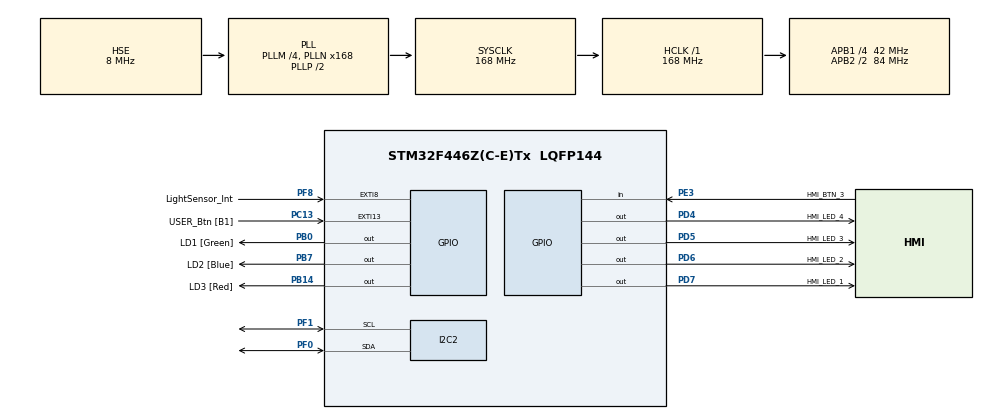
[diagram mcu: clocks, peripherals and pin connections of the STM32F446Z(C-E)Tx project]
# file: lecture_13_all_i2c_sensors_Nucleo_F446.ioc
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Mcu.Family=STM32F4
Mcu.Name=STM32F446Z(C-E)Tx
Mcu.Package=LQFP144
NVIC.EXTI15_10_IRQn=true\:0\:0\:false\:false\:true\:true\:true\:true
NVIC.EXTI9_5_IRQn=true\:0\:0\:false\:false\:true\:true\:true\:true
NVIC.PriorityGroup=NVIC_PRIORITYGROUP_4
PA13.Mode=Serial_Wire
PA13.Signal=SYS_JTMS-SWDIO
PA14.Mode=Serial_Wire
PA14.Signal=SYS_JTCK-SWCLK
PB0.GPIO_Label=LD1 [Green]
PB0.Signal=GPIO_Output
PB14.GPIO_Label=LD3 [Red]
PB14.Signal=GPIO_Output
PB7.GPIO_Label=LD2 [Blue]
PB7.Signal=GPIO_Output
PC13.GPIO_Label=USER_Btn [B1]
PC13.Signal=GPXTI13
PC14-OSC32_IN.Mode=LSE-External-Oscillator
PC14-OSC32_IN.Signal=RCC_OSC32_IN
PC15-OSC32_OUT.Mode=LSE-External-Oscillator
PC15-OSC32_OUT.Signal=RCC_OSC32_OUT
PD4.GPIO_Label=HMI_LED_4
PD4.GPIO_ModeDefaultOutputPP=GPIO_MODE_OUTPUT_PP
PD4.GPIO_PuPd=GPIO_NOPULL
PD4.GPIO_Speed=GPIO_SPEED_FREQ_LOW
PD4.PinState=GPIO_PIN_RESET
PD4.Signal=GPIO_Output
PD5.GPIO_Label=HMI_LED_3
PD5.GPIO_ModeDefaultOutputPP=GPIO_MODE_OUTPUT_PP
PD5.GPIO_PuPd=GPIO_NOPULL
PD5.GPIO_Speed=GPIO_SPEED_FREQ_LOW
PD5.PinState=GPIO_PIN_RESET
PD5.Signal=GPIO_Output
PD6.GPIO_Label=HMI_LED_2
PD6.GPIO_ModeDefaultOutputPP=GPIO_MODE_OUTPUT_PP
PD6.GPIO_PuPd=GPIO_NOPULL
PD6.GPIO_Speed=GPIO_SPEED_FREQ_LOW
PD6.PinState=GPIO_PIN_RESET
PD6.Signal=GPIO_Output
PD7.GPIO_Label=HMI_LED_1
PD7.GPIO_ModeDefaultOutputPP=GPIO_MODE_OUTPUT_PP
PD7.GPIO_PuPd=GPIO_NOPULL
PD7.GPIO_Speed=GPIO_SPEED_FREQ_LOW
PD7.PinState=GPIO_PIN_RESET
PD7.Signal=GPIO_Output
PE3.GPIO_Label=HMI_BTN_3
PE3.GPIO_PuPd=GPIO_PULLDOWN
PE3.Signal=GPIO_Input
PF0.Mode=I2C
PF0.Signal=I2C2_SDA
PF1.Mode=I2C
PF1.Signal=I2C2_SCL
PF8.GPIO_Label=LightSensor_Int
PF8.GPIO_ModeDefaultEXTI=GPIO_MODE_IT_RISING_FALLING
PF8.Signal=GPXTI8
PH0-OSC_IN.Mode=HSE-External-Clock-Source
PH0-OSC_IN.Signal=RCC_OSC_IN
PH1-OSC_OUT.Mode=HSE-External-Clock-Source
PH1-OSC_OUT.Signal=RCC_OSC_OUT
ProjectManager.HeapSize=0x200
ProjectManager.StackSize=0x400
ProjectManager.TargetToolchain=STM32CubeIDE
RCC.48MHZClocksFreq_Value=24000000
RCC.AHBFreq_Value=168000000
RCC.APB1CLKDivider=RCC_HCLK_DIV4
RCC.APB1Freq_Value=42000000
RCC.APB1TimFreq_Value=84000000
RCC.APB2CLKDivider=RCC_HCLK_DIV2
RCC.APB2Freq_Value=84000000
RCC.APB2TimFreq_Value=168000000
RCC.CortexFreq_Value=168000000
RCC.HCLKFreq_Value=168000000
RCC.HSE_VALUE=8000000
RCC.HSI_VALUE=16000000
RCC.PLLM=4
RCC.PLLMUL=RCC_PLL_MUL9
RCC.PLLN=168
RCC.PLLQ=7
RCC.PLLSourceVirtual=RCC_PLLSOURCE_HSE
RCC.PRESCALERUSB=RCC_USBCLKSOURCE_PLL_DIV1_5
RCC.SYSCLKFreq_VALUE=168000000
RCC.SYSCLKSource=RCC_SYSCLKSOURCE_PLLCLK
RCC.SYSCLKSourceVirtual=RCC_SYSCLKSOURCE_PLLCLK
RCC.USBFreq_Value=48000000
RCC.VCOOutputFreq_Value=336000000
board=NUCLEO-F446ZE

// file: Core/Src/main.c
/* USER CODE BEGIN Header */
/**
  ******************************************************************************
  * @file           : main.c
  * @brief          : Main program body
  ******************************************************************************
  * @attention
  *
  * Copyright (c) 2024 STMicroelectronics.
  * All rights reserved.
  *
  * This software is licensed under terms that can be found in the LICENSE file
  * in the root directory of this software component.
  * If no LICENSE file comes with this software, it is provided AS-IS.
  *
  ******************************************************************************
  */
/* USER CODE END Header */
#include "main.h"
#include "i2c.h"
#include "gpio.h"

/* USER CODE BEGIN Includes */

#include "OLED.h"
#include "humidity_sensor.h"
#include "light_sensor.h"
#include "temperature_sensor.h"
#include <stdio.h>

/* USER CODE END Includes */

void SystemClock_Config(void);

/* USER CODE BEGIN 0 */

void HAL_GPIO_EXTI_Callback(uint16_t GPIO_Pin)
{
}

/* USER CODE END 0 */

int main(void)
{

  /* MCU Configuration--------------------------------------------------------*/

  /* Reset of all peripherals, Initializes the Flash interface and the Systick. */
  HAL_Init();

  /* Configure the system clock */
  SystemClock_Config();

  /* Initialize all configured peripherals */
  MX_GPIO_Init();
  MX_I2C2_Init();
  /* USER CODE BEGIN 2 */

  // Debouncing code from the 7th chapter
#define DEBOUNCING_TRESHOLD 20

  uint8_t count_debounce = 0;
  uint8_t previous_state_debounce;
  uint8_t current_state_debounce = HAL_GPIO_ReadPin(HMI_BTN_3_GPIO_Port, HMI_BTN_3_Pin);

  uint8_t previous_state_edge = HAL_GPIO_ReadPin(HMI_BTN_3_GPIO_Port, HMI_BTN_3_Pin);
  uint8_t counter = 0x01;

  // Initialize OLED display for showing lm_temperature reading
  OLED_Init();

  // Light sensor
  // Storing measured light level
  float lightLevel;
  uint16_t channel_0;
  uint16_t channel_1;

  // Character array for displaying the measured light level
  char lightLevel_char[18];
  uint16_t lightlevel_integer;
  uint16_t lightlevel_fractional;
  char channels_char[18];

  // Set the I2C slave address of the light sensor
  //LightSensor_SetAddress(LightSensor_ADDR_VDD);
  LightSensor_SetAddress(LightSensor_ADDR_FLOAT);
  //LightSensor_SetAddress(LightSensor_ADDR_GND);

  // Initialize the light sensor
  LightSensor_SetPowerState(LightSensor_POWER_ON);
  LightSensor_SetGain(LightSensor_GAIN_16X);
  LightSensor_SetIntegrationTime(LightSensor_INTEG_101m);

  // Temperature sensor
  // For storing the measured hih_temperature
  float lm_temperature;
  uint16_t lm_temperature_int;
  uint16_t lm_temperature_frac;

  // Character array for displaying the measured hih_temperature
  char lm_temperature_char[11];

  /*
   * Use the Overtemperature Shoutdown function of the IC
   * (LED next to the LM75A IC)
   */
  // Set the overtemperature threshold (turn on) value to 28 degrees Celsius
  LM75A_SetOSTemperature(28);
  // Set the overtemperature hysteresis (turn off) value to 27 degrees Celsius
  LM75A_SetOSHysteresis(27);

  // Humidity sensor
  // Storing measured data
  float humidityLevel;
  float hih_temperature;

  // Character array for displaying the measured humidity
  int string_length = 20;
  char humidityLevel_char[string_length];
  char hih_temperature_char[string_length];

  /* USER CODE END 2 */

  /* Infinite loop */
  /* USER CODE BEGIN WHILE */
  while (1)
  {
	  count_debounce = 0;
	  while (count_debounce < DEBOUNCING_TRESHOLD)
	  {
		  previous_state_debounce = current_state_debounce;
		  current_state_debounce = HAL_GPIO_ReadPin(HMI_BTN_3_GPIO_Port, HMI_BTN_3_Pin);
		  if (previous_state_debounce == current_state_debounce)
		  {
			  count_debounce++;
		  }
		  else
		  {
			  count_debounce = 0;
		  }
	  }
	  if(current_state_debounce && !previous_state_edge)
	  {
		  counter <<= 1;
		  if (counter == 0x10)
		  {
			  counter = 0x01;
		  }
	  }
	  previous_state_edge = current_state_debounce;

	  // Light sensor
	  if (counter == 0x01)
	  {
		  // Read sensor
		  LightSensor_GetLightLevel(&lightLevel);
		  LightSensor_GetCH0Value(&channel_0);
		  LightSensor_GetCH1Value(&channel_1);

		  // String conversion
		  lightlevel_integer = (uint16_t)lightLevel;
		  lightlevel_fractional = (uint16_t)(lightLevel * 100) - 100 * (uint16_t)lightLevel;
		  sprintf(lightLevel_char, "%d.%d lux", lightlevel_integer, lightlevel_fractional);
		  sprintf(channels_char, "%d, %d", channel_0, channel_1);

		  OLED_Fill(Black);

		  OLED_SetCursor(2, 0);
		  OLED_WriteString("Illuminance:", Font_7x10, White);
		  OLED_SetCursor(2, 10);
		  OLED_WriteString(lightLevel_char, Font_7x10, White);

		  OLED_SetCursor(2, 10+10);
		  OLED_WriteString("Channel 0, 1:", Font_7x10, White);
		  OLED_SetCursor(2, 10+10+10);
		  OLED_WriteString(channels_char, Font_7x10, White);
	  }
	  else if(counter == 0x02)
	  {
		  // Temperature sensor
		  // Read the sensor.
		  LM75A_GetTemperature(&lm_temperature);

		  // Convert the float type value to string. The integer and fractional parts handled separately.
		  lm_temperature_int = (uint16_t)lm_temperature;
		  lm_temperature_frac = (uint16_t)(lm_temperature * 100) - 100 * (uint16_t)lm_temperature;
		  sprintf(lm_temperature_char, "%d.%d C", lm_temperature_int, lm_temperature_frac);

		  // Update screen
		  OLED_Fill(Black);
		  OLED_SetCursor(2, 0);
		  OLED_WriteString("Temperature:", Font_7x10, White);
		  OLED_SetCursor(2, 10);
		  OLED_WriteString(lm_temperature_char, Font_7x10, White);
		  // The position of the circle depends on the length of the fractional part of the displayed number.
		  if (lm_temperature_char[4] == ' ')
		  {
			  OLED_DrawCircle(33, 12, 2, White);
		  }
		  else
		  {
			  OLED_DrawCircle(40, 12, 2, White);
		  }
	  }
	  else if (counter == 0x04)
	  {
		  /* Read sensor and convert data
	  	 	 	 Integer and fractional parts converted separately,
	  	 	 	 since casting to (uint16_t) will ignore fractional part of the float type number.*/
		  HumTempSensor_GetValues(&humidityLevel, &hih_temperature);
		  sprintf(humidityLevel_char, "%d.%d%%", (uint16_t)humidityLevel, (uint16_t)(humidityLevel * 100) - ((uint16_t)humidityLevel) * 100);
		  sprintf(hih_temperature_char, "%d.%d C", (uint16_t)hih_temperature, (uint16_t)(hih_temperature * 100) - ((uint16_t)hih_temperature) * 100 );

		  // Update screen
		  OLED_Fill(Black);

		  OLED_SetCursor(2, 0);
		  OLED_WriteString("Relative humidity:", Font_7x10, White);
		  OLED_SetCursor(2, 10);
		  OLED_WriteString(humidityLevel_char, Font_7x10, White);
		  OLED_SetCursor(2, 10+10);
		  OLED_WriteString("Temperature:", Font_7x10, White);
		  OLED_SetCursor(2, 10+10+10);
		  OLED_WriteString(hih_temperature_char, Font_7x10, White);
		  // The position of the circle depends on the length of the fractional part of the displayed number
		  if (hih_temperature_char[4] == ' ')
		  {
			  OLED_DrawCircle(33, 32, 2, White);
		  }
		  else
		  {
			  OLED_DrawCircle(40, 32, 2, White);
		  }
	  }
	  else if (counter == 0x08)
	  {
		  // Temperature sensor
		  // Read the sensor.
		  LM75A_GetTemperature(&lm_temperature);

		  // Convert the float type value to string. The integer and fractional parts handled separately.
		  lm_temperature_int = (uint16_t)lm_temperature;
		  lm_temperature_frac = (uint16_t)(lm_temperature * 100) - 100 * (uint16_t)lm_temperature;
		  sprintf(lm_temperature_char, "%d.%d C", lm_temperature_int, lm_temperature_frac);

		  // Humidity sensor

		  HumTempSensor_GetValues(&humidityLevel, &hih_temperature);
		  sprintf(hih_temperature_char, "%d.%d C", (uint16_t)hih_temperature, (uint16_t)(hih_temperature * 100) - ((uint16_t)hih_temperature) * 100 );

		  // Update screen
		  OLED_Fill(Black);
		  OLED_SetCursor(2, 0);
		  OLED_WriteString("LM75:", Font_7x10, White);
		  OLED_SetCursor(2, 10);
		  OLED_WriteString(lm_temperature_char, Font_7x10, White);
		  // The position of the circle depends on the length of the fractional part of the displayed number.
		  if (lm_temperature_char[4] == ' ')
		  {
			  OLED_DrawCircle(33, 12, 2, White);
		  }
		  else
		  {
			  OLED_DrawCircle(40, 12, 2, White);
		  }
		  OLED_SetCursor(2, 20);
		  OLED_WriteString("HIH8120:", Font_7x10, White);
		  OLED_SetCursor(2, 30);
		  OLED_WriteString(hih_temperature_char, Font_7x10, White);
		  // The position of the circle depends on the length of the fractional part of the displayed number.
		  if (hih_temperature_char[4] == ' ')
		  {
			  OLED_DrawCircle(33, 32, 2, White);
		  }
		  else
		  {
			  OLED_DrawCircle(40, 32, 2, White);
		  }
	  }
	  else
	  {
		  OLED_Fill(Black);

	  }
	  OLED_UpdateScreen();

    /* USER CODE END WHILE */

  }
}

void SystemClock_Config(void)
{
  RCC_OscInitTypeDef RCC_OscInitStruct = {0};
  RCC_ClkInitTypeDef RCC_ClkInitStruct = {0};

  /** Configure the main internal regulator output voltage
  */
  __HAL_RCC_PWR_CLK_ENABLE();
  __HAL_PWR_VOLTAGESCALING_CONFIG(PWR_REGULATOR_VOLTAGE_SCALE1);

  /** Initializes the RCC Oscillators according to the specified parameters
  * in the RCC_OscInitTypeDef structure.
  */
  RCC_OscInitStruct.OscillatorType = RCC_OSCILLATORTYPE_HSE;
  RCC_OscInitStruct.HSEState = RCC_HSE_BYPASS;
  RCC_OscInitStruct.PLL.PLLState = RCC_PLL_ON;
  RCC_OscInitStruct.PLL.PLLSource = RCC_PLLSOURCE_HSE;
  RCC_OscInitStruct.PLL.PLLM = 4;
  RCC_OscInitStruct.PLL.PLLN = 168;
  RCC_OscInitStruct.PLL.PLLP = RCC_PLLP_DIV2;
  RCC_OscInitStruct.PLL.PLLQ = 7;
  RCC_OscInitStruct.PLL.PLLR = 2;
  if (HAL_RCC_OscConfig(&RCC_OscInitStruct) != HAL_OK)
  {
    Error_Handler();
  }

  /** Initializes the CPU, AHB and APB buses clocks
  */
  RCC_ClkInitStruct.ClockType = RCC_CLOCKTYPE_HCLK|RCC_CLOCKTYPE_SYSCLK
                              |RCC_CLOCKTYPE_PCLK1|RCC_CLOCKTYPE_PCLK2;
  RCC_ClkInitStruct.SYSCLKSource = RCC_SYSCLKSOURCE_PLLCLK;
  RCC_ClkInitStruct.AHBCLKDivider = RCC_SYSCLK_DIV1;
  RCC_ClkInitStruct.APB1CLKDivider = RCC_HCLK_DIV4;
  RCC_ClkInitStruct.APB2CLKDivider = RCC_HCLK_DIV2;

  if (HAL_RCC_ClockConfig(&RCC_ClkInitStruct, FLASH_LATENCY_5) != HAL_OK)
  {
    Error_Handler();
  }
}

void Error_Handler(void)
{
  __disable_irq();
  while (1)
  {
  }
}
